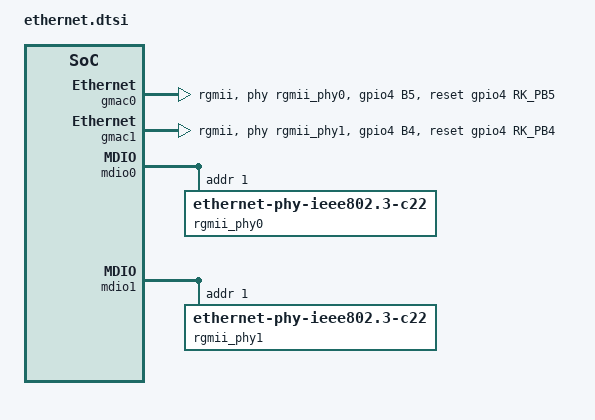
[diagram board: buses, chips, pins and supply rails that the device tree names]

&gmac0 {
	phy-mode = "rgmii";
	clock_in_out = "input";

	assigned-clocks = <&cru SCLK_GMAC0_RX_TX>, <&cru SCLK_GMAC0>;
	assigned-clock-parents = <&cru SCLK_GMAC0_RGMII_SPEED>;

	pinctrl-names = "default";
	pinctrl-0 = <	&gmac0_miim
					&gmac0_tx_bus2
					&gmac0_rx_bus2
					&gmac0_rgmii_clk
					&gmac0_rgmii_bus
					&gmac0_clkinout
					&rgmii_phy0_reset_pin>;
/*
	RGMII0_RST -> VT5(NMOS) -> RGMII0_RST_
	0 -> 1
	1 -> 0
*/
	snps,reset-gpio = <&gpio4 RK_PB5 GPIO_ACTIVE_HIGH>;
	snps,reset-active-high;

	/* Reset time is 20ms, 100ms for rtl8211f */
	snps,reset-delays-us = <0 20000 100000>;

	tx_delay = <0x3c>;
	rx_delay = <0x2f>;

	phy-handle = <&rgmii_phy0>;
	status = "okay";
};

&gmac1 {
	phy-mode = "rgmii";
	clock_in_out = "input";

	assigned-clocks = <&cru SCLK_GMAC1_RX_TX>, <&cru SCLK_GMAC1>;
	assigned-clock-parents = <&cru SCLK_GMAC1_RGMII_SPEED>;

	pinctrl-names = "default";
	pinctrl-0 = <	&gmac1m0_miim
					&gmac1m0_tx_bus2
					&gmac1m0_rx_bus2
					&gmac1m0_rgmii_clk
					&gmac1m0_rgmii_bus
					&gmac1m0_clkinout
					&rgmii_phy1_reset_pin>;
/*
	RGMII1_RST -> VT17(NMOS) -> RGMII1_RST_
	0 -> 1
	1 -> 0
*/
	snps,reset-gpio = <&gpio4 RK_PB4 GPIO_ACTIVE_HIGH>;
	snps,reset-active-high;

	/* Reset time is 20ms, 100ms for rtl8211f */
	snps,reset-delays-us = <0 20000 100000>;

	tx_delay = <0x4f>;
	rx_delay = <0x26>;

	phy-handle = <&rgmii_phy1>;
	status = "okay";
};


&mdio0 {
	rgmii_phy0: ethernet-phy@1 {
		compatible = "ethernet-phy-ieee802.3-c22";
		reg = <0x1>;
	};
};

&mdio1 {
	rgmii_phy1: ethernet-phy@1 {
		compatible = "ethernet-phy-ieee802.3-c22";
		reg = <0x1>;
	};
};

&pinctrl {
	rgmii_phy0_reset {
		rgmii_phy0_reset_pin: rgmii-phy0-reset-pin {
/*
			RGMII0_RST -> VT5 (NMOS) -> RGMII0_RST_
			0 -> 1
			1 -> 0
*/
			rockchip,pins = <4 RK_PB5 RK_FUNC_GPIO &pcfg_pull_none>;
		};
	};

    rgmii_phy1_reset {
		rgmii_phy1_reset_pin: rgmii-phy1-reset-pin {
/*
			RGMII1_RST -> VT7 (NMOS) -> RGMII1_RST_
			0 -> 1
			1 -> 0
*/
			rockchip,pins = <4 RK_PB4 RK_FUNC_GPIO &pcfg_pull_none>;
		};
	};
};
